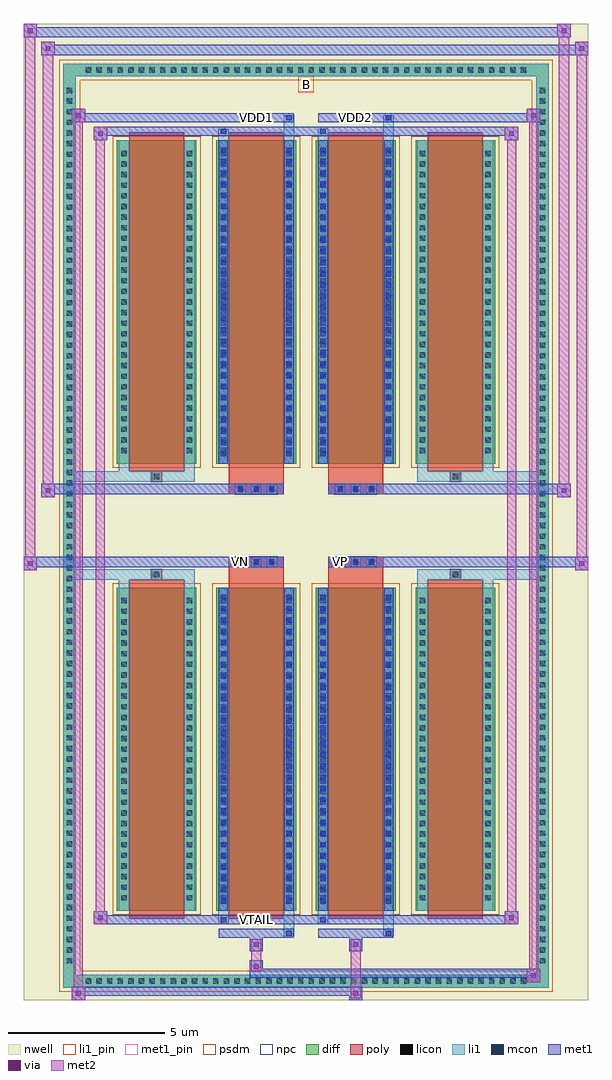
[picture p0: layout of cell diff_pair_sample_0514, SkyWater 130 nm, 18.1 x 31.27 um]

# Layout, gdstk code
import gdstk
lib = gdstk.Library(unit=1e-6, precision=5e-09)
def R(c, l, rs):  # rectangles x0, y0, x1, y1
    for r in rs: c.add(gdstk.rectangle(r[:2], r[2:], *l))
def A(c, l, x, y, w, h, nx, ny, dx, dy):  # array of equal rectangles
    R(c, l, [(x+i*dx, y+j*dy, x+i*dx+w, y+j*dy+h) for i in range(nx) for j in range(ny)])
def P(c, l, *ps):  # polygons
    for p in ps: c.add(gdstk.Polygon(p, *l))
nwell = (64, 20)
diff = (65, 20)
poly = (66, 20)
licon = (66, 44)
li1_pin = (67, 16)
li1 = (67, 20)
mcon = (67, 44)
met1_pin = (68, 16)
met1 = (68, 20)
via = (68, 44)
met2 = (69, 20)
psdm = (94, 20)
npc = (95, 20)

diff_pair_sample_0514 = lib.new_cell('diff_pair_sample_0514')
R(diff_pair_sample_0514, nwell, [(-9.05,-15.2,9.05,16.07), (-6.37,-13.39,-0.01,-0.805), (0.01,-13.39,6.37,-0.805), (-6.37,0.805,-0.01,13.39), (0.01,0.805,6.37,13.39)])
A(diff_pair_sample_0514, diff, -7.175, -14.8, 0.41, 0.41, 42, 2, 0.34, 29.19)
A(diff_pair_sample_0514, diff, -7.78, -14.145, 0.41, 0.41, 1, 83, 0, 0.34)
A(diff_pair_sample_0514, diff, 7.37, -14.145, 0.41, 0.41, 1, 83, 0, 0.34)
A(diff_pair_sample_0514, diff, -6.06, -12.345, 2.55, 10.36, 4, 2, 3.19, 14.33)
R(diff_pair_sample_0514, diff, [(-7.175,-14.8,7.175,-14.39), (-7.78,-14.145,-7.37,14.145), (7.37,-14.145,7.78,14.145), (-7.175,14.39,7.175,14.8)])
P(diff_pair_sample_0514, diff, [(7.78,14.8),(-7.78,14.8),(-7.78,-14.39),(-7.37,-14.39),(-7.37,14.39),(7.37,14.39),(7.37,-14.39),(-7.37,-14.39),(-7.78,-14.39),(-7.78,-14.8),(7.78,-14.8)])
A(diff_pair_sample_0514, poly, -5.67, -12.595, 1.77, 10.86, 4, 2, 3.19, 14.33)
A(diff_pair_sample_0514, poly, -2.26, -1.335, 0.33, 0.33, 3, 2, 0.5, 2.34)
A(diff_pair_sample_0514, poly, 0.93, -1.335, 0.33, 0.33, 3, 2, 0.5, 2.34)
R(diff_pair_sample_0514, poly, [(-4.95,-1.735,-4.62,-1.405), (-4.95,-1.735,-4.62,-1.405), (-2.48,-1.735,-0.71,-1.335), (0.71,-1.735,2.48,-1.335), (4.62,-1.735,4.95,-1.405), (4.62,-1.735,4.95,-1.405), (-2.48,-1.335,-0.71,-1.005), (0.71,-1.335,2.48,-1.005), (-2.48,1.005,-0.71,1.335), (0.71,1.005,2.48,1.335), (-2.48,1.335,-0.71,1.735), (0.71,1.335,2.48,1.735), (-4.95,1.405,-4.62,1.735), (-4.95,1.405,-4.62,1.735), (4.62,1.405,4.95,1.735), (4.62,1.405,4.95,1.735)])
A(diff_pair_sample_0514, licon, -7.055, -14.68, 0.17, 0.17, 42, 2, 0.34, 29.19)
A(diff_pair_sample_0514, licon, -7.66, -14.025, 0.17, 0.17, 1, 83, 0, 0.34)
A(diff_pair_sample_0514, licon, 7.49, -14.025, 0.17, 0.17, 1, 83, 0, 0.34)
A(diff_pair_sample_0514, licon, -5.92, -12.01, 0.17, 0.17, 1, 29, 0, 0.34)
A(diff_pair_sample_0514, licon, -3.82, -12.01, 0.17, 0.17, 1, 29, 0, 0.34)
A(diff_pair_sample_0514, licon, -2.73, -12.01, 0.17, 0.17, 1, 29, 0, 0.34)
A(diff_pair_sample_0514, licon, -0.63, -12.01, 0.17, 0.17, 1, 29, 0, 0.34)
A(diff_pair_sample_0514, licon, 0.46, -12.01, 0.17, 0.17, 1, 29, 0, 0.34)
A(diff_pair_sample_0514, licon, 2.56, -12.01, 0.17, 0.17, 1, 29, 0, 0.34)
A(diff_pair_sample_0514, licon, 3.65, -12.01, 0.17, 0.17, 1, 29, 0, 0.34)
A(diff_pair_sample_0514, licon, 5.75, -12.01, 0.17, 0.17, 1, 29, 0, 0.34)
A(diff_pair_sample_0514, licon, -2.18, -1.255, 0.17, 0.17, 3, 2, 0.5, 2.34)
A(diff_pair_sample_0514, licon, 1.01, -1.255, 0.17, 0.17, 3, 2, 0.5, 2.34)
A(diff_pair_sample_0514, licon, -5.92, 2.32, 0.17, 0.17, 1, 29, 0, 0.34)
A(diff_pair_sample_0514, licon, -3.82, 2.32, 0.17, 0.17, 1, 29, 0, 0.34)
A(diff_pair_sample_0514, licon, -2.73, 2.32, 0.17, 0.17, 1, 29, 0, 0.34)
A(diff_pair_sample_0514, licon, -0.63, 2.32, 0.17, 0.17, 1, 29, 0, 0.34)
A(diff_pair_sample_0514, licon, 0.46, 2.32, 0.17, 0.17, 1, 29, 0, 0.34)
A(diff_pair_sample_0514, licon, 2.56, 2.32, 0.17, 0.17, 1, 29, 0, 0.34)
A(diff_pair_sample_0514, licon, 3.65, 2.32, 0.17, 0.17, 1, 29, 0, 0.34)
A(diff_pair_sample_0514, licon, 5.75, 2.32, 0.17, 0.17, 1, 29, 0, 0.34)
R(diff_pair_sample_0514, licon, [(-4.87,-1.655,-4.7,-1.485), (4.7,-1.655,4.87,-1.485), (-4.87,1.485,-4.7,1.655), (4.7,1.485,4.87,1.655)])
R(diff_pair_sample_0514, li1_pin, [(-0.25,13.89,0.25,14.39)])
A(diff_pair_sample_0514, li1, -7.135, -14.76, 0.33, 0.33, 42, 2, 0.34, 29.19)
A(diff_pair_sample_0514, li1, -7.74, -14.105, 0.33, 0.33, 1, 83, 0, 0.34)
A(diff_pair_sample_0514, li1, 7.41, -14.105, 0.33, 0.33, 1, 83, 0, 0.34)
A(diff_pair_sample_0514, li1, -2.73, -12.11, 0.17, 0.17, 1, 28, 0, 0.36)
A(diff_pair_sample_0514, li1, -0.63, -12.11, 0.17, 0.17, 1, 28, 0, 0.36)
A(diff_pair_sample_0514, li1, 0.46, -12.11, 0.17, 0.17, 1, 28, 0, 0.36)
A(diff_pair_sample_0514, li1, 2.56, -12.11, 0.17, 0.17, 1, 28, 0, 0.36)
A(diff_pair_sample_0514, li1, -6, -12.09, 0.33, 0.33, 1, 29, 0, 0.34)
A(diff_pair_sample_0514, li1, -3.9, -12.09, 0.33, 0.33, 1, 29, 0, 0.34)
A(diff_pair_sample_0514, li1, -2.81, -12.09, 0.33, 0.33, 1, 29, 0, 0.34)
A(diff_pair_sample_0514, li1, -0.71, -12.09, 0.33, 0.33, 1, 29, 0, 0.34)
A(diff_pair_sample_0514, li1, 0.38, -12.09, 0.33, 0.33, 1, 29, 0, 0.34)
A(diff_pair_sample_0514, li1, 2.48, -12.09, 0.33, 0.33, 1, 29, 0, 0.34)
A(diff_pair_sample_0514, li1, 3.57, -12.09, 0.33, 0.33, 1, 29, 0, 0.34)
A(diff_pair_sample_0514, li1, 5.67, -12.09, 0.33, 0.33, 1, 29, 0, 0.34)
A(diff_pair_sample_0514, li1, -2.26, -1.335, 0.33, 0.33, 3, 2, 0.5, 2.34)
A(diff_pair_sample_0514, li1, 0.93, -1.335, 0.33, 0.33, 3, 2, 0.5, 2.34)
A(diff_pair_sample_0514, li1, -2.73, 2.22, 0.17, 0.17, 1, 28, 0, 0.36)
A(diff_pair_sample_0514, li1, -0.63, 2.22, 0.17, 0.17, 1, 28, 0, 0.36)
A(diff_pair_sample_0514, li1, 0.46, 2.22, 0.17, 0.17, 1, 28, 0, 0.36)
A(diff_pair_sample_0514, li1, 2.56, 2.22, 0.17, 0.17, 1, 28, 0, 0.36)
A(diff_pair_sample_0514, li1, -6, 2.24, 0.33, 0.33, 1, 29, 0, 0.34)
A(diff_pair_sample_0514, li1, -3.9, 2.24, 0.33, 0.33, 1, 29, 0, 0.34)
A(diff_pair_sample_0514, li1, -2.81, 2.24, 0.33, 0.33, 1, 29, 0, 0.34)
A(diff_pair_sample_0514, li1, -0.71, 2.24, 0.33, 0.33, 1, 29, 0, 0.34)
A(diff_pair_sample_0514, li1, 0.38, 2.24, 0.33, 0.33, 1, 29, 0, 0.34)
A(diff_pair_sample_0514, li1, 2.48, 2.24, 0.33, 0.33, 1, 29, 0, 0.34)
A(diff_pair_sample_0514, li1, 3.57, 2.24, 0.33, 0.33, 1, 29, 0, 0.34)
A(diff_pair_sample_0514, li1, 5.67, 2.24, 0.33, 0.33, 1, 29, 0, 0.34)
R(diff_pair_sample_0514, li1, [(-7.78,-14.8,-7.37,-14.39), (-7.78,-14.8,-7.37,-14.39), (-7.37,-14.8,7.37,-14.39), (7.37,-14.8,7.78,-14.39), (7.37,-14.8,7.78,-14.39), (-7.78,-14.39,-7.37,14.39), (7.37,-14.39,7.78,14.39), (-0.71,-13.15,-0.38,-12.345), (-0.63,-13.15,-0.46,-12.98), (2.48,-13.15,2.81,-12.345), (2.56,-13.15,2.73,-12.98), (-2.81,-12.72,-2.48,-12.345), (-2.73,-12.72,-2.56,-12.55), (0.38,-12.72,0.71,-12.345), (0.46,-12.72,0.63,-12.55), (-6,-12.345,-5.67,-1.985), (-3.9,-12.345,-3.57,-1.985), (-2.81,-12.345,-2.48,-1.985), (-0.71,-12.345,-0.38,-1.985), (0.38,-12.345,0.71,-1.985), (2.48,-12.345,2.81,-1.985), (3.57,-12.345,3.9,-1.985), (5.67,-12.345,6,-1.985), (-2.73,-12.11,-2.56,-2.22), (-0.63,-12.11,-0.46,-2.22), (0.46,-12.11,0.63,-2.22), (2.56,-12.11,2.73,-2.22), (-6,-1.985,-5.67,-1.405), (-3.9,-1.985,-3.57,-1.405), (3.57,-1.985,3.9,-1.405), (5.67,-1.985,6,-1.405), (-7.78,-1.735,-4.95,-1.405), (-6,-1.735,-4.95,-1.405), (-4.95,-1.735,-4.62,-1.405), (-4.62,-1.735,-3.57,-1.405), (3.57,-1.735,4.62,-1.405), (4.62,-1.735,4.95,-1.405), (4.62,-1.735,7.78,-1.405), (4.95,-1.735,6,-1.405), (-7.78,1.405,-4.95,1.735), (-6,1.405,-4.95,1.735), (-6,1.405,-5.67,1.985), (-4.95,1.405,-4.62,1.735), (-4.62,1.405,-3.57,1.735), (-3.9,1.405,-3.57,1.985), (3.57,1.405,4.62,1.735), (3.57,1.405,3.9,1.985), (4.62,1.405,4.95,1.735), (4.62,1.405,7.78,1.735), (4.95,1.405,6,1.735), (5.67,1.405,6,1.985), (-6,1.985,-5.67,12.345), (-3.9,1.985,-3.57,12.345), (-2.81,1.985,-2.48,12.345), (-0.71,1.985,-0.38,12.345), (0.38,1.985,0.71,12.345), (2.48,1.985,2.81,12.345), (3.57,1.985,3.9,12.345), (5.67,1.985,6,12.345), (-2.73,2.22,-2.56,12.11), (-0.63,2.22,-0.46,12.11), (0.46,2.22,0.63,12.11), (2.56,2.22,2.73,12.11), (-2.81,12.345,-2.48,12.72), (-0.71,12.345,-0.38,13.15), (0.38,12.345,0.71,12.72), (2.48,12.345,2.81,13.15), (-2.73,12.55,-2.56,12.72), (0.46,12.55,0.63,12.72), (-0.63,12.98,-0.46,13.15), (2.56,12.98,2.73,13.15), (-7.78,14.39,-7.37,14.8), (-7.78,14.39,-7.37,14.8), (-7.37,14.39,7.37,14.8), (7.37,14.39,7.78,14.8), (7.37,14.39,7.78,14.8)])
A(diff_pair_sample_0514, mcon, -2.73, -12.11, 0.17, 0.17, 1, 28, 0, 0.36)
A(diff_pair_sample_0514, mcon, -0.63, -12.11, 0.17, 0.17, 1, 28, 0, 0.36)
A(diff_pair_sample_0514, mcon, 0.46, -12.11, 0.17, 0.17, 1, 28, 0, 0.36)
A(diff_pair_sample_0514, mcon, 2.56, -12.11, 0.17, 0.17, 1, 28, 0, 0.36)
A(diff_pair_sample_0514, mcon, -2.18, -1.255, 0.17, 0.17, 3, 2, 0.5, 2.34)
A(diff_pair_sample_0514, mcon, 1.01, -1.255, 0.17, 0.17, 3, 2, 0.5, 2.34)
A(diff_pair_sample_0514, mcon, -2.73, 2.22, 0.17, 0.17, 1, 28, 0, 0.36)
A(diff_pair_sample_0514, mcon, -0.63, 2.22, 0.17, 0.17, 1, 28, 0, 0.36)
A(diff_pair_sample_0514, mcon, 0.46, 2.22, 0.17, 0.17, 1, 28, 0, 0.36)
A(diff_pair_sample_0514, mcon, 2.56, 2.22, 0.17, 0.17, 1, 28, 0, 0.36)
R(diff_pair_sample_0514, mcon, [(-0.63,-13.15,-0.46,-12.98), (2.56,-13.15,2.73,-12.98), (-2.73,-12.72,-2.56,-12.55), (0.46,-12.72,0.63,-12.55), (-2.73,12.55,-2.56,12.72), (0.46,12.55,0.63,12.72), (-0.63,12.98,-0.46,13.15), (2.56,12.98,2.73,13.15)])
R(diff_pair_sample_0514, met1_pin, [(-1.73,-12.76,-1.46,-12.49), (-2.23,-1.295,-1.96,-1.025), (0.96,-1.295,1.23,-1.025), (-1.73,12.94,-1.46,13.21), (1.46,12.94,1.73,13.21)])
A(diff_pair_sample_0514, met1, -2.79, -12.17, 0.29, 0.29, 1, 28, 0, 0.36)
A(diff_pair_sample_0514, met1, -0.69, -12.17, 0.29, 0.29, 1, 28, 0, 0.36)
A(diff_pair_sample_0514, met1, 0.4, -12.17, 0.29, 0.29, 1, 28, 0, 0.36)
A(diff_pair_sample_0514, met1, 2.5, -12.17, 0.29, 0.29, 1, 28, 0, 0.36)
A(diff_pair_sample_0514, met1, -2.24, -1.315, 0.29, 0.29, 3, 2, 0.5, 2.34)
A(diff_pair_sample_0514, met1, 0.95, -1.315, 0.29, 0.29, 3, 2, 0.5, 2.34)
A(diff_pair_sample_0514, met1, -2.79, 2.16, 0.29, 0.29, 1, 28, 0, 0.36)
A(diff_pair_sample_0514, met1, -0.69, 2.16, 0.29, 0.29, 1, 28, 0, 0.36)
A(diff_pair_sample_0514, met1, 0.4, 2.16, 0.29, 0.29, 1, 28, 0, 0.36)
A(diff_pair_sample_0514, met1, 2.5, 2.16, 0.29, 0.29, 1, 28, 0, 0.36)
R(diff_pair_sample_0514, met1, [(-7.51,-15.2,-7.08,-14.77), (1.38,-15.2,1.81,-14.77), (-7.51,-15.06,1.81,-14.77), (7.08,-14.63,7.51,-14.2), (-1.81,-14.49,7.51,-14.2), (-1.81,-14.35,-1.38,-13.92), (-1.81,-13.64,-1.38,-13.21), (1.38,-13.64,1.81,-13.21), (-2.79,-13.21,-0.4,-12.92), (-0.69,-13.21,-0.4,-12.92), (0.4,-13.21,2.79,-12.92), (2.5,-13.21,2.79,-12.92), (-6.8,-12.78,-6.37,-12.35), (-6.8,-12.78,-2.79,-12.49), (-2.79,-12.78,-2.5,-12.49), (-2.79,-12.78,-0.4,-12.49), (-0.4,-12.78,0.4,-12.49), (0.4,-12.78,0.69,-12.49), (0.4,-12.78,2.79,-12.49), (2.79,-12.78,6.8,-12.49), (6.37,-12.78,6.8,-12.35), (-2.79,-12.345,-2.5,-1.985), (-0.69,-12.345,-0.4,-1.985), (0.4,-12.345,0.69,-1.985), (2.5,-12.345,2.79,-1.985), (-9.05,-1.435,-8.62,-1.005), (8.62,-1.435,9.05,-1.005), (-9.05,-1.335,-0.71,-1.005), (-2.48,-1.335,-0.71,-1.005), (0.71,-1.335,2.48,-1.005), (0.71,-1.335,9.05,-1.005), (-8.48,0.905,-8.05,1.335), (8.05,0.905,8.48,1.335), (-8.48,1.005,-2.48,1.335), (-2.48,1.005,-0.71,1.335), (0.71,1.005,2.48,1.335), (2.48,1.005,8.48,1.335), (-2.79,1.985,-2.5,12.345), (-0.69,1.985,-0.4,12.345), (0.4,1.985,0.69,12.345), (2.5,1.985,2.79,12.345), (-6.8,12.35,-6.37,12.78), (6.37,12.35,6.8,12.78), (-6.8,12.49,-2.79,12.78), (-2.79,12.49,-2.5,12.78), (-2.79,12.49,-0.4,12.78), (-0.4,12.49,0.4,12.78), (0.4,12.49,0.69,12.78), (0.4,12.49,2.79,12.78), (2.79,12.49,6.8,12.78), (-7.51,12.92,-7.08,13.35), (-7.51,12.92,-2.79,13.21), (-2.79,12.92,-0.4,13.21), (-0.69,12.92,-0.4,13.21), (0.4,12.92,2.79,13.21), (2.5,12.92,2.79,13.21), (2.79,12.92,7.51,13.21), (7.08,12.92,7.51,13.35), (-8.48,15.07,-8.05,15.5), (-8.48,15.07,-6.37,15.4), (-6.37,15.07,6.37,15.4), (6.37,15.07,9.05,15.4), (8.62,15.07,9.05,15.5), (-9.05,15.64,-8.62,16.07), (-9.05,15.64,-6.37,15.97), (-6.37,15.64,6.37,15.97), (6.37,15.64,8.48,15.97), (8.05,15.64,8.48,16.07)])
R(diff_pair_sample_0514, via, [(-7.37,-15.06,-7.22,-14.91), (1.52,-15.06,1.67,-14.91), (7.22,-14.49,7.37,-14.34), (-1.67,-14.21,-1.52,-14.06), (-1.67,-13.5,-1.52,-13.35), (1.52,-13.5,1.67,-13.35), (-6.66,-12.64,-6.51,-12.49), (6.51,-12.64,6.66,-12.49), (-8.91,-1.295,-8.76,-1.145), (8.76,-1.295,8.91,-1.145), (-8.34,1.045,-8.19,1.195), (8.19,1.045,8.34,1.195), (-6.66,12.49,-6.51,12.64), (6.51,12.49,6.66,12.64), (-7.37,13.06,-7.22,13.21), (7.22,13.06,7.37,13.21), (-8.34,15.21,-8.19,15.36), (8.76,15.21,8.91,15.36), (-8.91,15.78,-8.76,15.93), (8.19,15.78,8.34,15.93)])
R(diff_pair_sample_0514, met2, [(-7.51,-15.2,-7.08,-14.77), (-7.44,-15.2,-7.15,13.35), (-7.15,-15.2,-7.08,-14.77), (-7.46,-15.15,-7.13,-14.82), (1.43,-15.15,1.76,-14.82), (1.43,-14.82,1.76,-13.59), (7.08,-14.63,7.51,-14.2), (7.15,-14.63,7.44,13.35), (7.44,-14.63,7.51,-14.2), (7.13,-14.58,7.46,-14.25), (-1.76,-14.3,-1.43,-13.97), (-1.76,-13.97,-1.43,-13.59), (-1.76,-13.59,-1.43,-13.26), (1.43,-13.59,1.76,-13.26), (-6.8,-12.78,-6.37,-12.35), (-6.73,-12.78,-6.44,12.78), (-6.44,-12.78,-6.37,-12.35), (6.37,-12.78,6.8,-12.35), (6.44,-12.78,6.73,12.78), (6.73,-12.78,6.8,-12.35), (-6.75,-12.73,-6.42,-12.4), (6.42,-12.73,6.75,-12.4), (-9.05,-1.435,-8.62,-1.005), (-9,-1.435,-8.67,16.07), (-8.67,-1.435,-8.62,-1.005), (8.62,-1.435,9.05,-1.005), (8.67,-1.435,9,15.5), (9,-1.435,9.05,-1.005), (-9,-1.385,-8.67,-1.055), (8.67,-1.385,9,-1.055), (-8.48,0.905,-8.05,1.335), (-8.43,0.905,-8.1,15.5), (-8.1,0.905,-8.05,1.335), (8.05,0.905,8.48,1.335), (8.1,0.905,8.43,16.07), (8.43,0.905,8.48,1.335), (-8.43,0.955,-8.1,1.285), (8.1,0.955,8.43,1.285), (-6.8,12.35,-6.37,12.78), (-6.44,12.35,-6.37,12.78), (6.37,12.35,6.8,12.78), (6.73,12.35,6.8,12.78), (-6.75,12.4,-6.42,12.73), (6.42,12.4,6.75,12.73), (-7.51,12.92,-7.08,13.35), (-7.15,12.92,-7.08,13.35), (7.08,12.92,7.51,13.35), (7.44,12.92,7.51,13.35), (-7.46,12.97,-7.13,13.3), (7.13,12.97,7.46,13.3), (-8.48,15.07,-8.05,15.5), (-8.1,15.07,-8.05,15.5), (8.62,15.07,9.05,15.5), (9,15.07,9.05,15.5), (-8.43,15.12,-8.1,15.45), (8.67,15.12,9,15.45), (-9.05,15.64,-8.62,16.07), (-8.67,15.64,-8.62,16.07), (8.05,15.64,8.48,16.07), (8.43,15.64,8.48,16.07), (-9,15.69,-8.67,16.02), (8.1,15.69,8.43,16.02)])
A(diff_pair_sample_0514, psdm, -6.19, -12.475, 2.81, 10.62, 4, 2, 3.19, 14.33)
P(diff_pair_sample_0514, psdm, [(7.91,14.93),(-7.91,14.93),(-7.91,-14.26),(-7.24,-14.26),(-7.24,14.26),(7.24,14.26),(7.24,-14.26),(-7.24,-14.26),(-7.91,-14.26),(-7.91,-14.93),(7.91,-14.93)])
A(diff_pair_sample_0514, npc, -2.28, -1.355, 0.37, 0.37, 3, 2, 0.5, 2.34)
A(diff_pair_sample_0514, npc, 0.91, -1.355, 0.37, 0.37, 3, 2, 0.5, 2.34)
R(diff_pair_sample_0514, npc, [(-4.97,-1.755,-4.6,-1.385), (4.6,-1.755,4.97,-1.385), (-2.28,-1.355,-1.41,-0.985), (-2.28,-1.355,-1.41,-0.985), (-1.78,-1.355,-0.91,-0.985), (-1.78,-1.355,-0.91,-0.985), (0.91,-1.355,1.78,-0.985), (0.91,-1.355,1.78,-0.985), (1.41,-1.355,2.28,-0.985), (1.41,-1.355,2.28,-0.985), (-2.28,0.985,-1.41,1.355), (-2.28,0.985,-1.41,1.355), (-1.78,0.985,-0.91,1.355), (-1.78,0.985,-0.91,1.355), (0.91,0.985,1.78,1.355), (0.91,0.985,1.78,1.355), (1.41,0.985,2.28,1.355), (1.41,0.985,2.28,1.355), (-4.97,1.385,-4.6,1.755), (4.6,1.385,4.97,1.755)])
diff_pair_sample_0514.add(gdstk.Label('VTAIL', (-1.595,-12.625), layer=68, texttype=5))
diff_pair_sample_0514.add(gdstk.Label('VN', (-2.095,-1.16), layer=68, texttype=5))
diff_pair_sample_0514.add(gdstk.Label('VP', (1.095,-1.16), layer=68, texttype=5))
diff_pair_sample_0514.add(gdstk.Label('B', (0,14.14), layer=67, texttype=5))
diff_pair_sample_0514.add(gdstk.Label('VDD2', (1.595,13.075), layer=68, texttype=5))
diff_pair_sample_0514.add(gdstk.Label('VDD1', (-1.595,13.075), layer=68, texttype=5))

lib.write_gds('diff_pair_sample_0514.gds')
